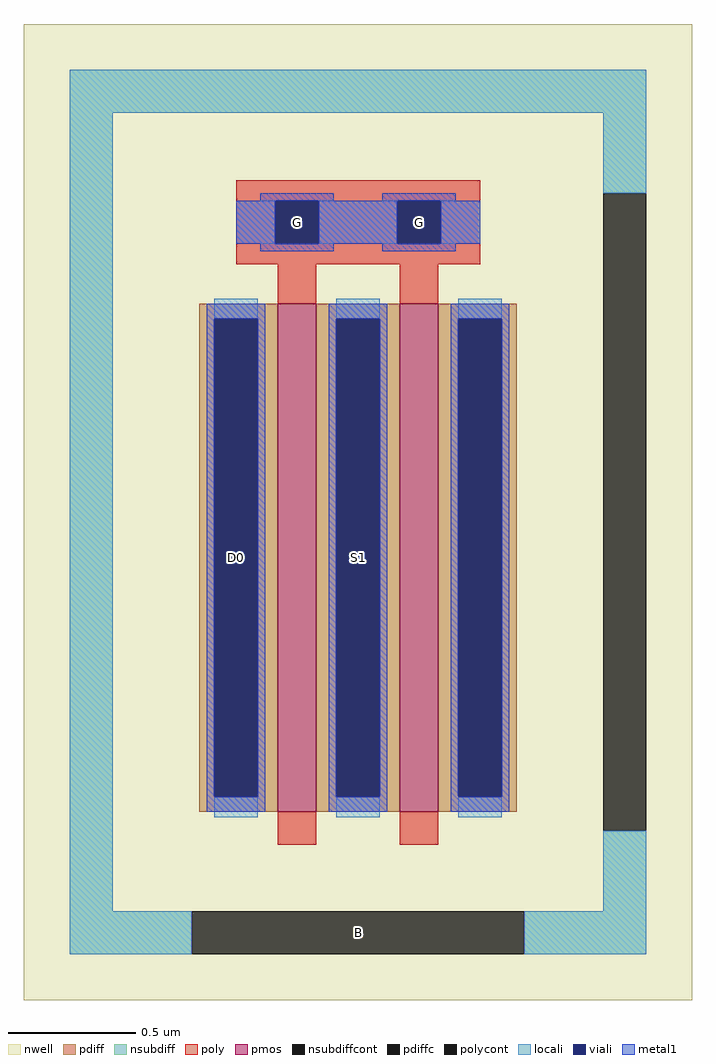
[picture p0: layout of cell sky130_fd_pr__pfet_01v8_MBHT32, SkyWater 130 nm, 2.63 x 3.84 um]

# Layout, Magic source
magic
tech sky130A
magscale 1 2
<< nwell >>
rect -263 -384 263 384
<< pmos >>
rect -63 -236 -33 164
rect 33 -236 63 164
<< pdiff >>
rect -125 152 -63 164
rect -125 -224 -113 152
rect -79 -224 -63 152
rect -125 -236 -63 -224
rect -33 152 33 164
rect -33 -224 -17 152
rect 17 -224 33 152
rect -33 -236 33 -224
rect 63 152 125 164
rect 63 -224 79 152
rect 113 -224 125 152
rect 63 -236 125 -224
<< pdiffc >>
rect -113 -224 -79 152
rect -17 -224 17 152
rect 79 -224 113 152
<< nsubdiff >>
rect -227 314 227 348
rect -227 -314 -193 314
rect 193 251 227 314
rect 193 -314 227 -251
rect -227 -348 -131 -314
rect 131 -348 227 -314
<< nsubdiffcont >>
rect 193 -251 227 251
rect -131 -348 131 -314
<< poly >>
rect -96 245 96 261
rect -96 211 -65 245
rect -31 211 31 245
rect 65 211 96 245
rect -96 195 96 211
rect -63 164 -33 195
rect 33 164 63 195
rect -63 -262 -33 -236
rect 33 -262 63 -236
<< polycont >>
rect -65 211 -31 245
rect 31 211 65 245
<< locali >>
rect -227 314 227 348
rect -227 -314 -193 314
rect 193 251 227 314
rect -96 211 -65 245
rect -31 211 31 245
rect 65 211 96 245
rect -113 152 -79 168
rect -113 -240 -79 -224
rect -17 152 17 168
rect -17 -240 17 -224
rect 79 152 113 168
rect 79 -240 113 -224
rect 193 -314 227 -251
rect -227 -348 -131 -314
rect 131 -348 227 -314
<< viali >>
rect -65 211 -31 245
rect 31 211 65 245
rect -113 -224 -79 152
rect -17 -224 17 152
rect 79 -224 113 152
<< metal1 >>
rect -77 245 -19 251
rect 19 245 77 251
rect -96 211 -65 245
rect -31 211 31 245
rect 65 211 96 245
rect -77 205 -19 211
rect 19 205 77 211
rect -119 152 -73 164
rect -119 -224 -113 152
rect -79 -224 -73 152
rect -119 -236 -73 -224
rect -23 152 23 164
rect -23 -224 -17 152
rect 17 -224 23 152
rect -23 -236 23 -224
rect 73 152 119 164
rect 73 -224 79 152
rect 113 -224 119 152
rect 73 -236 119 -224
<< labels >>
rlabel nsubdiffcont 0 -331 0 -331 0 B
port 1 nsew
rlabel pdiffc -96 -36 -96 -36 0 D0
port 2 nsew
rlabel polycont -48 228 -48 228 0 G
port 3 nsew
rlabel pdiffc 0 -36 0 -36 0 S1
port 4 nsew
rlabel polycont 48 228 48 228 0 G
port 3 nsew
<< properties >>
string FIXED_BBOX -210 -331 210 331
string gencell sky130_fd_pr__pfet_01v8
string library sky130
string parameters w 2 l 0.15 m 1 nf 2 diffcov 100 polycov 100 guard 1 glc 0 grc 1 gtc 0 gbc 1 tbcov 100 rlcov 100 topc 1 botc 0 poverlap 0 doverlap 1 lmin 0.15 wmin 0.42 class mosfet compatible {sky130_fd_pr__pfet_01v8  sky130_fd_pr__pfet_01v8_lvt sky130_fd_pr__pfet_01v8_hvt  sky130_fd_pr__pfet_g5v0d10v5} full_metal 1 conn_gates 1 viasrc 100 viadrn 100 viagate 100 viagb 0 viagr 0 viagl 0 viagt 0 doports 1
<< end >>
